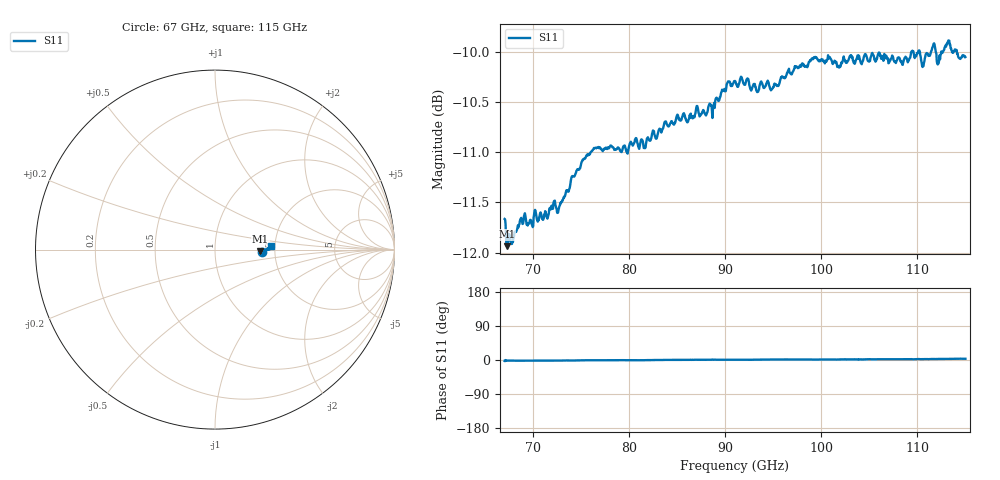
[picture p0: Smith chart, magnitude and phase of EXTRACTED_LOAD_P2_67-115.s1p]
! Generated by Phase I extraction
# Hz S RI R 50
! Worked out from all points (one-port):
!   1001 points, 67 GHz to 115 GHz, reference 50 ohm
!   lowest |S11| = -11.9 dB at 67.24 GHz (marker M1), VSWR 1.68, Z = 83.8 - j1.34 ohm
!   |S11| at or under -10 dB: start of sweep to 109.4 GHz; 110.2 GHz to 111.4 GHz (1.179 GHz wide, 1.06 % of centre); 114.1 GHz to end of sweep (the widest 3 of 8)
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6.7e10  0.2608 -0.0119
6.724e10  0.2529 -0.00748
6.7768e10  0.2536 -0.00677
6.8872e10  0.2594 -0.0081
6.9736e10  0.2606 -0.0065
7.2088e10  0.2658 -0.00646
7.2616e10  0.2638 -0.00671
7.3e10  0.2666 -0.00662
7.4152e10  0.2741 -0.0065
7.6216e10  0.2826 -0.00322
7.9e10  0.2825 -0.00234
8.164e10  0.2831 -0.0019
8.5e10  0.2942 0.00217
8.7976e10  0.2939 0.00256
9.0328e10  0.3055 0.00426
9.1e10  0.3057 0.00376
9.4792e10  0.3026 0.00689
9.7e10  0.3088 0.00767
9.9256e10  0.314 0.00635
1.01848e11  0.3104 0.0082
1.03e11  0.3145 0.00864
1.09e11  0.3122 0.0107
1.10104e11  0.3161 0.0135
1.10584e11  0.3107 0.0116
1.11688e11  0.3187 0.0144
1.12216e11  0.3117 0.0149
1.13176e11  0.319 0.0172
1.15e11  0.3137 0.0177
